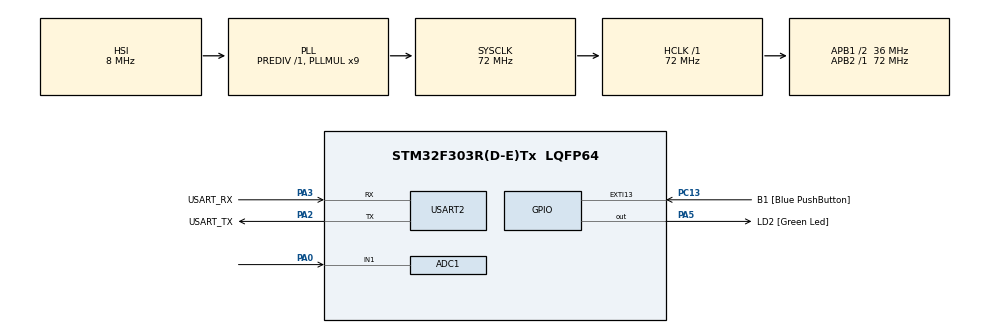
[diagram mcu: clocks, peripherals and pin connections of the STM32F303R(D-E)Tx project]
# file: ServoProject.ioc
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ADC1.Channel-0\#ChannelRegularConversion=ADC_CHANNEL_1
ADC1.NbrOfConversionFlag=1
ADC1.Offset-0\#ChannelRegularConversion=0
ADC1.OffsetNumber-0\#ChannelRegularConversion=ADC_OFFSET_NONE
ADC1.Rank-0\#ChannelRegularConversion=1
ADC1.SamplingTime-0\#ChannelRegularConversion=ADC_SAMPLETIME_1CYCLE_5
ADC1.master=1
FREERTOS.Queues01=QueueT,64,uint32_t,0,Dynamic,NULL,NULL
FREERTOS.Tasks01=defaultTask,0,128,StartDefaultTask,Default,NULL,Dynamic,NULL,NULL;readTask,0,256,StartReadTask,Default,NULL,Dynamic,NULL,NULL;servoTask,0,256,StartServoTask,Default,NULL,Dynamic,NULL,NULL
FREERTOS.configTOTAL_HEAP_SIZE=4096
Mcu.Family=STM32F3
Mcu.Name=STM32F303R(D-E)Tx
Mcu.Package=LQFP64
NVIC.PriorityGroup=NVIC_PRIORITYGROUP_4
NVIC.TIM1_UP_TIM16_IRQn=true\:0\:0\:false\:false\:true\:false\:false
NVIC.TimeBase=TIM1_UP_TIM16_IRQn
NVIC.TimeBaseIP=TIM1
PA0.Mode=IN1-Single-Ended
PA0.Signal=ADC1_IN1
PA13.GPIO_Label=TMS
PA13.Mode=Serial_Wire
PA13.Signal=SYS_JTMS-SWDIO
PA14.GPIO_Label=TCK
PA14.Mode=Serial_Wire
PA14.Signal=SYS_JTCK-SWCLK
PA2.GPIO_Label=USART_TX
PA2.GPIO_Mode=GPIO_MODE_AF_PP
PA2.GPIO_PuPd=GPIO_NOPULL
PA2.GPIO_Speed=GPIO_SPEED_FREQ_LOW
PA2.Mode=Asynchronous
PA2.Signal=USART2_TX
PA3.GPIO_Label=USART_RX
PA3.GPIO_Mode=GPIO_MODE_AF_PP
PA3.GPIO_PuPd=GPIO_NOPULL
PA3.GPIO_Speed=GPIO_SPEED_FREQ_LOW
PA3.Mode=Asynchronous
PA3.Signal=USART2_RX
PA5.GPIO_Label=LD2 [Green Led]
PA5.GPIO_Mode=GPIO_MODE_OUTPUT_PP
PA5.GPIO_PuPd=GPIO_NOPULL
PA5.GPIO_Speed=GPIO_SPEED_FREQ_LOW
PA5.Signal=GPIO_Output
PB3.GPIO_Label=SWO
PB3.Signal=SYS_JTDO-TRACESWO
PC13.GPIO_Label=B1 [Blue PushButton]
PC13.GPIO_ModeDefaultEXTI=GPIO_MODE_IT_FALLING
PC13.Signal=GPXTI13
PC14-OSC32_IN.Mode=LSE-External-Oscillator
PC14-OSC32_IN.Signal=RCC_OSC32_IN
PC15-OSC32_OUT.Mode=LSE-External-Oscillator
PC15-OSC32_OUT.Signal=RCC_OSC32_OUT
PF0-OSC_IN.Mode=HSE-External-Oscillator
PF0-OSC_IN.Signal=RCC_OSC_IN
PF1-OSC_OUT.Mode=HSE-External-Oscillator
PF1-OSC_OUT.Signal=RCC_OSC_OUT
ProjectManager.HeapSize=0x200
ProjectManager.StackSize=0x400
ProjectManager.TargetToolchain=SW4STM32
RCC.AHBFreq_Value=72000000
RCC.APB1CLKDivider=RCC_HCLK_DIV2
RCC.APB1Freq_Value=36000000
RCC.APB1TimFreq_Value=72000000
RCC.APB2Freq_Value=72000000
RCC.APB2TimFreq_Value=72000000
RCC.CortexFreq_Value=72000000
RCC.HCLKFreq_Value=72000000
RCC.HSE_VALUE=8000000
RCC.HSI_VALUE=8000000
RCC.PLLM=8
RCC.PLLMUL=RCC_PLL_MUL9
RCC.PLLN=336
RCC.PLLP=RCC_PLLP_DIV4
RCC.PLLQ=7
RCC.RCC_PLLsource_Clock_Source_FROM_HSE=RCC_HSE_PREDIV_DIV2
RCC.SYSCLKFreq_VALUE=72000000
RCC.SYSCLKSourceVirtual=RCC_SYSCLKSOURCE_PLLCLK
RCC.USBFreq_Value=72000000
USART2.VirtualMode-Asynchronous=VM_ASYNC
VP_FREERTOS_VS_ENABLE.Mode=Enabled
VP_SYS_VS_tim1.Mode=TIM1
board=NUCLEO-F303RE

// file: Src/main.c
/**
 ******************************************************************************
 * @file           : main.c
 * @brief          : Main program body
 ******************************************************************************
 * This notice applies to any and all portions of this file
 * that are not between comment pairs USER CODE BEGIN and
 * USER CODE END. Other portions of this file, whether
 * inserted by the user or by software development tools
 * are owned by their respective copyright owners.
 *
 * Copyright (c) 2018 STMicroelectronics International N.V.
 * All rights reserved.
 *
 * Redistribution and use in source and binary forms, with or without
 * modification, are permitted, provided that the following conditions are met:
 *
 * 1. Redistribution of source code must retain the above copyright notice,
 *    this list of conditions and the following disclaimer.
 * 2. Redistributions in binary form must reproduce the above copyright notice,
 *    this list of conditions and the following disclaimer in the documentation
 *    and/or other materials provided with the distribution.
 * 3. Neither the name of STMicroelectronics nor the names of other
 *    contributors to this software may be used to endorse or promote products
 *    derived from this software without specific written permission.
 * 4. This software, including modifications and/or derivative works of this
 *    software, must execute solely and exclusively on microcontroller or
 *    microprocessor devices manufactured by or for STMicroelectronics.
 * 5. Redistribution and use of this software other than as permitted under
 *    this license is void and will automatically terminate your rights under
 *    this license.
 *
 * THIS SOFTWARE IS PROVIDED BY STMICROELECTRONICS AND CONTRIBUTORS "AS IS"
 * AND ANY EXPRESS, IMPLIED OR STATUTORY WARRANTIES, INCLUDING, BUT NOT
 * LIMITED TO, THE IMPLIED WARRANTIES OF MERCHANTABILITY, FITNESS FOR A
 * PARTICULAR PURPOSE AND NON-INFRINGEMENT OF THIRD PARTY INTELLECTUAL PROPERTY
 * RIGHTS ARE DISCLAIMED TO THE FULLEST EXTENT PERMITTED BY LAW. IN NO EVENT
 * SHALL STMICROELECTRONICS OR CONTRIBUTORS BE LIABLE FOR ANY DIRECT, INDIRECT,
 * INCIDENTAL, SPECIAL, EXEMPLARY, OR CONSEQUENTIAL DAMAGES (INCLUDING, BUT NOT
 * LIMITED TO, PROCUREMENT OF SUBSTITUTE GOODS OR SERVICES; LOSS OF USE, DATA,
 * OR PROFITS; OR BUSINESS INTERRUPTION) HOWEVER CAUSED AND ON ANY THEORY OF
 * LIABILITY, WHETHER IN CONTRACT, STRICT LIABILITY, OR TORT (INCLUDING
 * NEGLIGENCE OR OTHERWISE) ARISING IN ANY WAY OUT OF THE USE OF THIS SOFTWARE,
 * EVEN IF ADVISED OF THE POSSIBILITY OF SUCH DAMAGE.
 *
 ******************************************************************************
 */
#include "main.h"
#include "stm32f3xx_hal.h"
#include "cmsis_os.h"
#include "adc.h"
#include "usart.h"
#include "gpio.h"

/* USER CODE BEGIN PV */
/* Private variables ---------------------------------------------------------*/

/* USER CODE END PV */

void SystemClock_Config(void);
void MX_FREERTOS_Init(void);

/* USER CODE BEGIN PFP */
/* Private function prototypes -----------------------------------------------*/

/* USER CODE END PFP */

int main(void) {

	/* MCU Configuration----------------------------------------------------------*/

	/* Reset of all peripherals, Initializes the Flash interface and the Systick. */
	HAL_Init();

	/* Configure the system clock */
	SystemClock_Config();

	/* Initialize all configured peripherals */
	MX_GPIO_Init();
	MX_USART2_UART_Init();
	MX_ADC1_Init();
	/* USER CODE BEGIN 2 */

	__HAL_RCC_GPIOA_CLK_ENABLE();
/*	ADC_RegularChannelConfig(ADC1, ADC_Channel_17, 1, ADC_SampleTime_71Cycles5);
	hadc1.ADC_ContinuousConvMode = ENABLE;
	hadc1.ADC_NbrOfChannel = 1;
	hadc1.ADC_ExternalTrigConv = ADC_ExternalTrigConv_None;
	 USER CODE END 2 */

	/* Call init function for freertos objects (in freertos.c) */
	MX_FREERTOS_Init();

	/* Start scheduler */
	osKernelStart();

	/* We should never get here as control is now taken by the scheduler */

	/* Infinite loop */
	while (1) {
	}

		/* USER CODE BEGIN 3 */

	//}
	/* USER CODE END 3 */

}

void SystemClock_Config(void) {

	RCC_OscInitTypeDef RCC_OscInitStruct;
	RCC_ClkInitTypeDef RCC_ClkInitStruct;
	RCC_PeriphCLKInitTypeDef PeriphClkInit;

	/**Initializes the CPU, AHB and APB busses clocks
	 */
	RCC_OscInitStruct.OscillatorType = RCC_OSCILLATORTYPE_HSI;
	RCC_OscInitStruct.HSIState = RCC_HSI_ON;
	RCC_OscInitStruct.HSICalibrationValue = 16;
	RCC_OscInitStruct.PLL.PLLState = RCC_PLL_ON;
	RCC_OscInitStruct.PLL.PLLSource = RCC_PLLSOURCE_HSI;
	RCC_OscInitStruct.PLL.PLLMUL = RCC_PLL_MUL9;
	RCC_OscInitStruct.PLL.PREDIV = RCC_PREDIV_DIV1;
	if (HAL_RCC_OscConfig(&RCC_OscInitStruct) != HAL_OK) {
		_Error_Handler(__FILE__, __LINE__);
	}

	/**Initializes the CPU, AHB and APB busses clocks
	 */
	RCC_ClkInitStruct.ClockType = RCC_CLOCKTYPE_HCLK | RCC_CLOCKTYPE_SYSCLK
			| RCC_CLOCKTYPE_PCLK1 | RCC_CLOCKTYPE_PCLK2;
	RCC_ClkInitStruct.SYSCLKSource = RCC_SYSCLKSOURCE_PLLCLK;
	RCC_ClkInitStruct.AHBCLKDivider = RCC_SYSCLK_DIV1;
	RCC_ClkInitStruct.APB1CLKDivider = RCC_HCLK_DIV2;
	RCC_ClkInitStruct.APB2CLKDivider = RCC_HCLK_DIV1;

	if (HAL_RCC_ClockConfig(&RCC_ClkInitStruct, FLASH_LATENCY_2) != HAL_OK) {
		_Error_Handler(__FILE__, __LINE__);
	}

	PeriphClkInit.PeriphClockSelection = RCC_PERIPHCLK_USART2
			| RCC_PERIPHCLK_ADC12;
	PeriphClkInit.Usart2ClockSelection = RCC_USART2CLKSOURCE_PCLK1;
	PeriphClkInit.Adc12ClockSelection = RCC_ADC12PLLCLK_DIV1;
	if (HAL_RCCEx_PeriphCLKConfig(&PeriphClkInit) != HAL_OK) {
		_Error_Handler(__FILE__, __LINE__);
	}

	/**Configure the Systick interrupt time
	 */
	HAL_SYSTICK_Config(HAL_RCC_GetHCLKFreq() / 1000);

	/**Configure the Systick
	 */
	HAL_SYSTICK_CLKSourceConfig(SYSTICK_CLKSOURCE_HCLK);

	/* SysTick_IRQn interrupt configuration */
	HAL_NVIC_SetPriority(SysTick_IRQn, 15, 0);
}

void HAL_TIM_PeriodElapsedCallback(TIM_HandleTypeDef *htim) {
	if (htim->Instance == TIM1) {
		HAL_IncTick();
	}
}

void _Error_Handler(char *file, int line) {
	while (1) {
	}
}

/************************ (C) COPYRIGHT STMicroelectronics *****END OF FILE****/

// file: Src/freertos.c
/**
  ******************************************************************************
  * File Name          : freertos.c
  * Description        : Code for freertos applications
  ******************************************************************************
  * This notice applies to any and all portions of this file
  * that are not between comment pairs USER CODE BEGIN and
  * USER CODE END. Other portions of this file, whether
  * inserted by the user or by software development tools
  * are owned by their respective copyright owners.
  *
  * Copyright (c) 2018 STMicroelectronics International N.V.
  * All rights reserved.
  *
  * Redistribution and use in source and binary forms, with or without
  * modification, are permitted, provided that the following conditions are met:
  *
  * 1. Redistribution of source code must retain the above copyright notice,
  *    this list of conditions and the following disclaimer.
  * 2. Redistributions in binary form must reproduce the above copyright notice,
  *    this list of conditions and the following disclaimer in the documentation
  *    and/or other materials provided with the distribution.
  * 3. Neither the name of STMicroelectronics nor the names of other
  *    contributors to this software may be used to endorse or promote products
  *    derived from this software without specific written permission.
  * 4. This software, including modifications and/or derivative works of this
  *    software, must execute solely and exclusively on microcontroller or
  *    microprocessor devices manufactured by or for STMicroelectronics.
  * 5. Redistribution and use of this software other than as permitted under
  *    this license is void and will automatically terminate your rights under
  *    this license.
  *
  * THIS SOFTWARE IS PROVIDED BY STMICROELECTRONICS AND CONTRIBUTORS "AS IS"
  * AND ANY EXPRESS, IMPLIED OR STATUTORY WARRANTIES, INCLUDING, BUT NOT
  * LIMITED TO, THE IMPLIED WARRANTIES OF MERCHANTABILITY, FITNESS FOR A
  * PARTICULAR PURPOSE AND NON-INFRINGEMENT OF THIRD PARTY INTELLECTUAL PROPERTY
  * RIGHTS ARE DISCLAIMED TO THE FULLEST EXTENT PERMITTED BY LAW. IN NO EVENT
  * SHALL STMICROELECTRONICS OR CONTRIBUTORS BE LIABLE FOR ANY DIRECT, INDIRECT,
  * INCIDENTAL, SPECIAL, EXEMPLARY, OR CONSEQUENTIAL DAMAGES (INCLUDING, BUT NOT
  * LIMITED TO, PROCUREMENT OF SUBSTITUTE GOODS OR SERVICES; LOSS OF USE, DATA,
  * OR PROFITS; OR BUSINESS INTERRUPTION) HOWEVER CAUSED AND ON ANY THEORY OF
  * LIABILITY, WHETHER IN CONTRACT, STRICT LIABILITY, OR TORT (INCLUDING
  * NEGLIGENCE OR OTHERWISE) ARISING IN ANY WAY OUT OF THE USE OF THIS SOFTWARE,
  * EVEN IF ADVISED OF THE POSSIBILITY OF SUCH DAMAGE.
  *
  ******************************************************************************
  */

#include "FreeRTOS.h"
#include "task.h"
#include "cmsis_os.h"
#include "main.h"
#include "stm32f3xx_hal.h"
#include "cmsis_os.h"
#include "adc.h"
#include "usart.h"
#include "gpio.h"

osThreadId defaultTaskHandle;
osThreadId readTaskHandle;
osThreadId servoTaskHandle;
osMessageQId QueueTHandle;

void StartDefaultTask(void const * argument);
void StartReadTask(void const * argument);
void StartServoTask(void const * argument);

void MX_FREERTOS_Init(void); /* (MISRA C 2004 rule 8.1) */

/* Hook prototypes */

/* Init FreeRTOS */

void MX_FREERTOS_Init(void) {

  /* Create the thread(s) */
  /* definition and creation of defaultTask */
  osThreadDef(defaultTask, StartDefaultTask, osPriorityNormal, 0, 128);
  defaultTaskHandle = osThreadCreate(osThread(defaultTask), NULL);

  /* definition and creation of readTask */
  osThreadDef(readTask, StartReadTask, osPriorityNormal, 0, 256);
  readTaskHandle = osThreadCreate(osThread(readTask), NULL);

  /* definition and creation of servoTask */
  osThreadDef(servoTask, StartServoTask, osPriorityNormal, 0, 256);
  servoTaskHandle = osThreadCreate(osThread(servoTask), NULL);

  /* Create the queue(s) */
  /* definition and creation of QueueT */
  osMessageQDef(QueueT, 64, uint32_t);
  QueueTHandle = osMessageCreate(osMessageQ(QueueT), NULL);

}

/* StartDefaultTask function */
void StartDefaultTask(void const * argument)
{

  /* USER CODE BEGIN StartDefaultTask */
  /* Infinite loop */
	uint32_t ostatni = 0;
	ADC_InitTypeDef adc;
	  /* Infinite loop */
	uint32_t licz=0 ;
	uint32_t l=0;
	for(;;){
		licz++;

		HAL_ADC_Start(&hadc1);
		        if (HAL_ADC_PollForConversion(&hadc1, 1000000) == HAL_OK)
		        {
		           l =  HAL_ADC_GetValue(&hadc1);
		                       // sprintf(str, "%d", ADCValue);

		        }
		        HAL_ADC_Stop(&hadc1);
		//uint32_t val = HAL_ADC_GetValue(&hadc1);
		//uint32_t val4=	HAL_ADC_GetValue(&ADC_CHANNEL_1);
		//uint32_t val2 = ADC_Get();
		// uint16_t adc = adc_read(ADC_CHANNEL_1);
		//uint16_t adc =	ADC_GetConversionValue(ADC1);
		//char str[30]={0};
		//char str2[30]={0};
		//  snprintf(str,26,"Licz=%8lu\n   ",val);
				//  HAL_UART_Transmit(&huart2,(uint8_t*)str,14,100);
				 // snprintf(str2,26,"Licz=%8lu\n   ",val2);
				 			//	  HAL_UART_Transmit(&huart2,(uint8_t*)str2,14,100);
		if(licz != ostatni){
		  osMessagePut(QueueTHandle, l, 500);
		}
	    osDelay(20);
	    ostatni = licz;
	  }
  /* USER CODE END StartDefaultTask */
}

/* StartReadTask function */
void StartReadTask(void const * argument)
{
   //USER CODE BEGIN StartReadTask
	GPIO_InitTypeDef gpio; // obiekt gpio bêd¹cy konfiguracj¹ portów GPIO
		gpio.Pin = GPIO_PIN_5; // konfigurujemy pin 5
		gpio.Mode = GPIO_MODE_OUTPUT_PP; // jako wyjœcie
		gpio.Pull = GPIO_NOPULL; // rezystory podci¹gaj¹ce s¹ wy³¹czone
		gpio.Speed = GPIO_SPEED_FREQ_LOW; // wystarcz¹ nieskie czêstotliwoœci prze³¹czania
		HAL_GPIO_Init(GPIOA, &gpio); // inicjalizacja modu³u GPIOA
  /* Infinite loop */
  for(;;)
  {
	// HAL_UART_Transmit(&huart2, 'e', 1, 1000);
	  		HAL_GPIO_WritePin(GPIOA, GPIO_PIN_5, GPIO_PIN_SET); // zapalenie diody
	  		HAL_Delay(100);
	  		HAL_GPIO_WritePin(GPIOA, GPIO_PIN_5, GPIO_PIN_RESET); // zgaszenie diody
	  		HAL_Delay(100);
  }
  /* USER CODE END StartReadTask */
}

/* StartServoTask function */
void StartServoTask(void const * argument)
{
  /* USER CODE BEGIN StartServoTask */
  /* Infinite loop */
	  char str[30]={0};
	  osEvent event;
	  /* Infinite loop */
	  for(;;){
		event = osMessageGet(QueueTHandle, 1000);
		//HAL_UART_Transmit(&huart1,(uint8_t*)"OK!\n",4,100);
		if(event.status != osEventTimeout){
		  snprintf(str,26,"Licz=%8lu\n   ",event.value.v);
		  HAL_UART_Transmit(&huart2,(uint8_t*)str,14,100);
		}
	    osDelay(10);
	  }
  /* USER CODE END StartServoTask */
}

/************************ (C) COPYRIGHT STMicroelectronics *****END OF FILE****/
